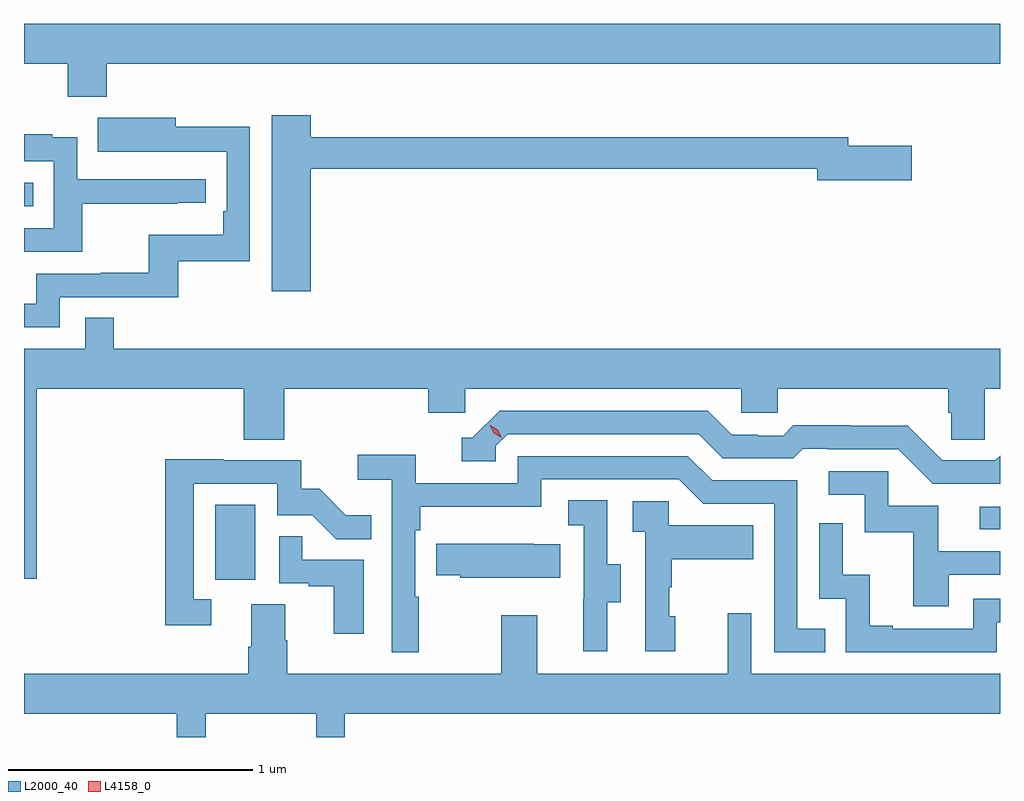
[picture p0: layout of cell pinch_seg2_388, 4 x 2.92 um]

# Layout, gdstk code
import gdstk
lib = gdstk.Library(unit=1e-6, precision=1e-09)
def R(c, l, rs):  # rectangles x0, y0, x1, y1
    for r in rs: c.add(gdstk.rectangle(r[:2], r[2:], *l))
def P(c, l, *ps):  # polygons
    for p in ps: c.add(gdstk.Polygon(p, *l))
L2000_40 = (2000, 40)
L4158_0 = (4158, 0)

pinch_seg2_388 = lib.new_cell('pinch_seg2_388')
R(pinch_seg2_388, L2000_40, [(970.514,617.55,970.678,617.857), (973.647,617.757,973.73,617.85), (969.73,619.08,969.767,619.176)])
P(pinch_seg2_388, L2000_40, [(970.07,619.664),(973.73,619.664),(973.73,619.828),(969.73,619.828),(969.73,619.664),(969.91,619.664),(969.91,619.529),(970.07,619.529)],
  [(970.906,619.234),(972.98,619.234),(972.98,619.187),(973.369,619.187),(973.369,619.329),(973.108,619.329),(973.108,619.363),(970.906,619.363),(970.906,619.453),(970.745,619.453),(970.745,618.732),(970.906,618.732)],
  [(969.876,618.708),(970.363,618.708),(970.363,618.855),(970.656,618.855),(970.656,619.406),(970.351,619.406),(970.351,619.444),(970.033,619.444),(970.033,619.304),(970.247,619.304),(970.247,619.305),(970.56,619.305),(970.56,619.06),(970.547,619.06),(970.547,618.964),(970.242,618.964),(970.242,618.809),(970.045,618.809),(970.045,618.804),(969.78,618.804),(969.78,618.681),(969.73,618.681),(969.73,618.585),(969.876,618.585)],
  [(969.968,619.09),(970.361,619.09),(970.361,619.095),(970.474,619.095),(970.474,619.191),(969.948,619.191),(969.948,619.363),(969.845,619.363),(969.845,619.375),(969.73,619.375),(969.73,619.266),(969.852,619.266),(969.852,618.99),(969.73,618.99),(969.73,618.894),(969.968,618.894)],
  [(970.097,618.623),(969.981,618.623),(969.981,618.496),(969.73,618.496),(969.73,617.553),(969.782,617.553),(969.782,618.332),(970.631,618.332),(970.631,618.124),(970.796,618.124),(970.796,618.332),(971.387,618.332),(971.387,618.234),(971.538,618.234),(971.538,618.332),(972.669,618.332),(972.669,618.234),(972.819,618.234),(972.819,618.332),(973.517,618.332),(973.517,618.234),(973.531,618.234),(973.531,618.124),(973.668,618.124),(973.668,618.332),(973.73,618.332),(973.73,618.496),(970.097,618.496)],
  [(973.73,618.059),(973.71,618.039),(973.494,618.039),(973.352,618.181),(973.116,618.181),(973.116,618.184),(972.883,618.184),(972.841,618.141),(972.738,618.141),(972.738,618.144),(972.631,618.144),(972.532,618.243),(971.679,618.243),(971.568,618.132),(971.525,618.132),(971.525,618.036),(971.664,618.036),(971.664,618.099),(971.712,618.147),(972.495,618.147),(972.594,618.048),(972.883,618.048),(972.922,618.087),(973.021,618.087),(973.021,618.084),(973.314,618.084),(973.455,617.943),(973.73,617.943)],
  [(971.347,617.48),(971.334,617.48),(971.334,617.753),(971.354,617.753),(971.354,617.849),(971.85,617.849),(971.85,617.961),(972.414,617.961),(972.513,617.862),(972.804,617.862),(972.804,617.253),(973.013,617.253),(973.013,617.349),(972.9,617.349),(972.9,617.958),(972.55,617.958),(972.451,618.057),(971.754,618.057),(971.754,617.946),(971.336,617.946),(971.336,618.062),(971.097,618.062),(971.097,617.96),(971.238,617.96),(971.238,617.253),(971.347,617.253)],
  [(970.498,617.469),(970.425,617.469),(970.425,617.943),(970.767,617.943),(970.767,617.814),(970.912,617.814),(971.01,617.716),(971.153,617.716),(971.153,617.815),(971.049,617.815),(970.942,617.922),(970.866,617.922),(970.866,618.039),(970.547,618.039),(970.547,618.044),(970.309,618.044),(970.309,617.364),(970.498,617.364)],
  [(973.519,617.571),(973.73,617.571),(973.73,617.667),(973.477,617.667),(973.477,617.853),(973.272,617.853),(973.272,617.994),(973.029,617.994),(973.029,617.898),(973.176,617.898),(973.176,617.745),(973.375,617.745),(973.375,617.442),(973.519,617.442)],
  [(972.121,617.458),(972.175,617.458),(972.175,617.613),(972.12,617.613),(972.12,617.876),(971.961,617.876),(971.961,617.773),(972.024,617.773),(972.024,617.469),(972.023,617.469),(972.023,617.256),(972.121,617.256)],
  [(972.4,617.4),(972.375,617.4),(972.375,617.519),(972.385,617.519),(972.385,617.633),(972.719,617.633),(972.719,617.773),(972.372,617.773),(972.372,617.871),(972.225,617.871),(972.225,617.747),(972.276,617.747),(972.276,617.256),(972.4,617.256)],
  [(973.716,617.376),(973.73,617.376),(973.73,617.472),(973.62,617.472),(973.62,617.349),(973.291,617.349),(973.291,617.362),(973.196,617.362),(973.196,617.57),(973.086,617.57),(973.086,617.782),(972.99,617.782),(972.99,617.472),(973.098,617.472),(973.098,617.253),(973.716,617.253)],
  [(971.122,617.631),(970.871,617.631),(970.871,617.729),(970.776,617.729),(970.776,617.535),(970.897,617.535),(970.897,617.523),(971,617.523),(971,617.328),(971.122,617.328)],
  [(971.927,617.695),(971.819,617.695),(971.819,617.698),(971.419,617.698),(971.419,617.569),(971.517,617.569),(971.517,617.558),(971.927,617.558)],
  [(973.73,617.164),(972.711,617.164),(972.711,617.413),(972.614,617.413),(972.614,617.164),(971.833,617.164),(971.833,617.404),(971.686,617.404),(971.686,617.164),(970.809,617.164),(970.809,617.301),(970.801,617.301),(970.801,617.45),(970.661,617.45),(970.661,617.276),(970.649,617.276),(970.649,617.164),(969.73,617.164),(969.73,617),(970.357,617),(970.357,616.905),(970.475,616.905),(970.475,617),(970.928,617),(970.928,616.905),(971.045,616.905),(971.045,617),(973.73,617)])
P(pinch_seg2_388, L4158_0, [(971.687,618.132),(971.656,618.151),(971.639,618.184),(971.639,618.184),(971.64,618.184),(971.671,618.165),(971.687,618.132),(971.687,618.132)])

lib.write_gds('pinch_seg2_388.gds')
